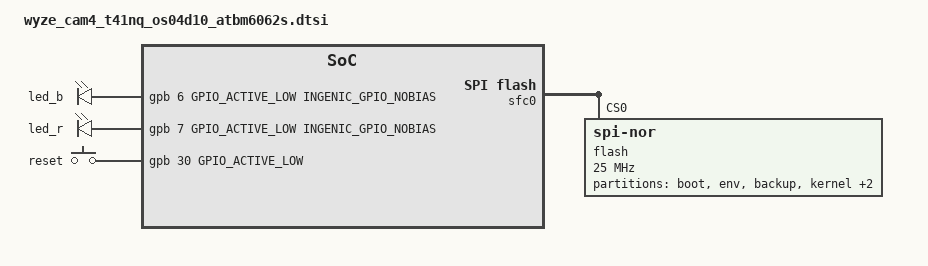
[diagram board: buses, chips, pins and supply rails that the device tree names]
// Wyze Cam 4 (T41NQ, OS04D10, ATBM6062S) per-board GPIO definitions.
// Injected into the kernel 4.4+ device tree; ignored on 3.10.

#include <dt-bindings/gpio/gpio.h>
#include <dt-bindings/input/input.h>
#include <dt-bindings/pinctrl/ingenic-pinctrl.h>

/ {
	aliases {
		serial1 = &uart1;
	};

	chosen {
		stdout-path = "serial1:115200n8";
		bootargs = "console=ttyS1,115200 root=/dev/mtdblock4 rootfstype=squashfs init=/init mem=100M@0x0 rmem=20M@0x6400000 nmem=8M@0x7800000 panic=5";
	};

	gpio-leds {
		compatible = "gpio-leds";

		led_b {
			label = "led_b";
			gpios = <&gpb 6 GPIO_ACTIVE_LOW INGENIC_GPIO_NOBIAS>;
			default-state = "off";
		};

		led_r {
			label = "led_r";
			gpios = <&gpb 7 GPIO_ACTIVE_LOW INGENIC_GPIO_NOBIAS>;
			default-state = "off";
		};
	};
};

/* Card detect; the family tree carries the reference pin. */
&msc0 {
	ingenic,cd-gpios = <&gpb 26 GPIO_ACTIVE_LOW INGENIC_GPIO_PULLUP>;
};

/ {
	gpio-keys {
		compatible = "gpio-keys";
		label = "gpio-keys";

		reset {
			label = "reset";
			linux,code = <KEY_ENTER>;
			gpios = <&gpb 30 GPIO_ACTIVE_LOW INGENIC_GPIO_PULLUP>;
		};
	};
};

/* Fixed 16 MiB layout; the image builder and U-Boot use the same sizes. */
&sfc0 {
	#address-cells = <1>;
	#size-cells = <0>;

	flash@0 {
		compatible = "jedec,spi-nor";
		reg = <0>;
		spi-max-frequency = <25000000>;

		partitions {
			compatible = "fixed-partitions";
			#address-cells = <1>;
			#size-cells = <1>;

			partition@0 {
				label = "boot";
				reg = <0x0 0x40000>;
				read-only;
			};

			partition@40000 {
				label = "env";
				reg = <0x40000 0x10000>;
			};

			partition@50000 {
				label = "backup";
				reg = <0x50000 0x10000>;
			};

			partition@60000 {
				label = "kernel";
				reg = <0x60000 0x300000>;
			};

			partition@360000 {
				label = "rootfs";
				reg = <0x360000 0x600000>;
			};

			partition@960000 {
				label = "data";
				reg = <0x960000 0x6a0000>;
			};
		};
	};
};
